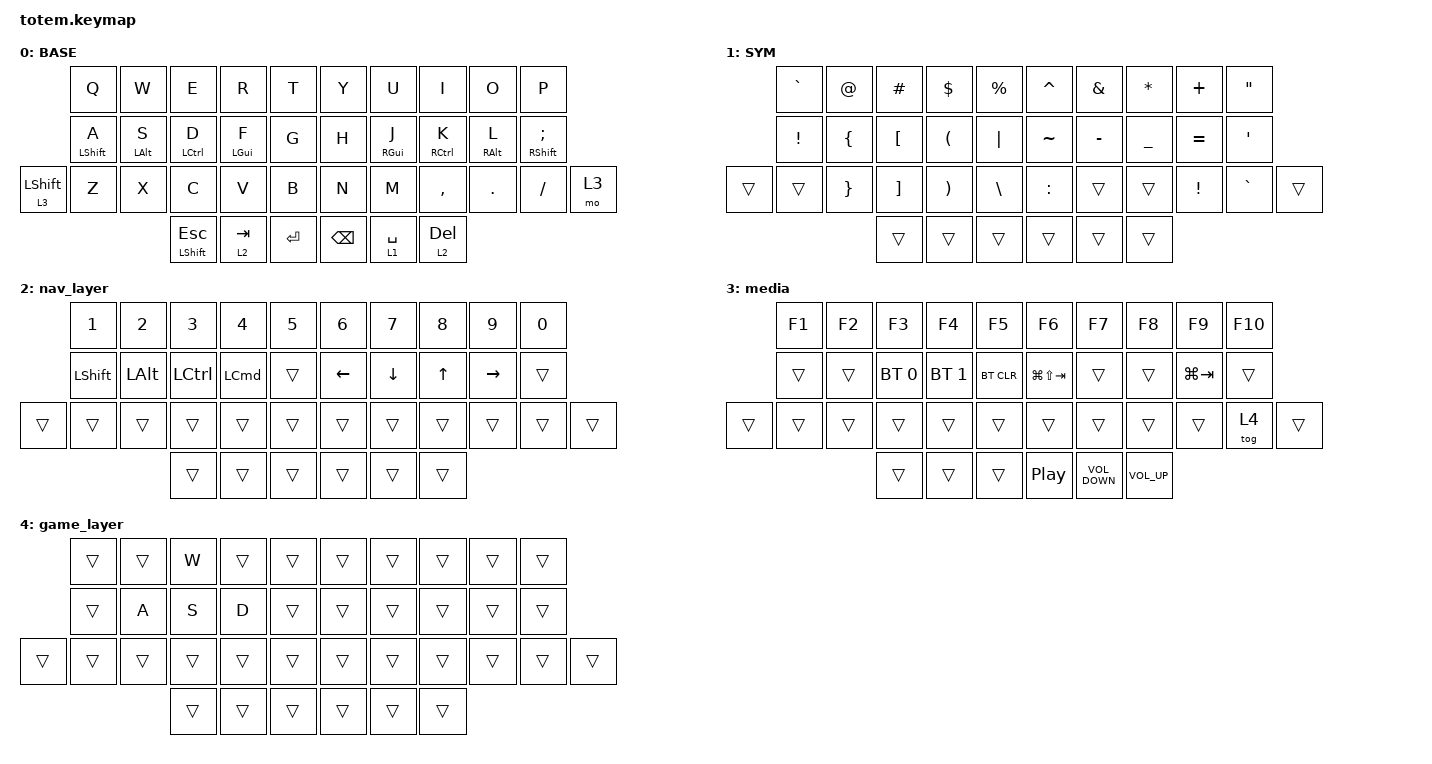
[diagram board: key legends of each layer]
//
//                                                        ▀▀▀▀▀     ▀▀▀▀▀          ▀▀█▀▀
//                                                        ▄▀▀▀▄  ▄  ▄▀▀▀▄  ▄  ▄▀▀▀▄  █  ▄▀▀▀▄
//                                                        █   █  █  █   █  █  █   █  █  █   █
//                                                         ▀▀▀   █   ▀▀▀   █   ▀▀▀   ▀   ▀▀▀
//                                                               █      ▄▄▄█▄▄▄    █   █  
//                                                               ▀      █  █  █     █▄█
//                                                             ▀▀▀▀▀    █  █  █      ▀
//                                                                      ▀  ▀  ▀
//
// ▄▄▄▄▄▄▄▄▄▄▄▄▄▄▄▄▄▄▄▄▄▄▄▄▄▄▄▄▄▄▄▄▄▄▄▄▄▄▄▄▄▄▄▄▄▄▄▄▄▄▄▄▄▄▄▄▄▄▄▄▄▄▄▄▄▄▄▄▄▄▄▄▄▄▄▄▄▄▄▄▄▄▄▄▄▄▄▄▄▄▄▄▄▄▄▄▄▄▄▄▄▄▄▄▄▄▄▄▄▄▄▄▄▄▄▄▄▄▄▄▄▄▄▄▄▄▄▄▄▄▄▄▄▄▄▄▄▄▄▄▄▄▄▄▄▄▄▄▄

#include <behaviors.dtsi>
#include <dt-bindings/zmk/bt.h>
#include <dt-bindings/zmk/keys.h>

&mt {
    quick-tap-ms = <200>;
    flavor = "tap-preferred";
    require-prior-idle-ms = <125>;
};

&lt {
    quick-tap-ms = <150>;
    require-prior-idle-ms = <150>;
    tapping-term-ms = <200>;
    flavor = "tap-preferred";
};

/ {
    combos {
        compatible = "zmk,combos";

        cmd_a {
            bindings = <&kp LG(A)>;
            key-positions = <10 21>;
        };

        cmd_x {
            bindings = <&kp LG(X)>;
            key-positions = <11 22>;
        };

        cmd_c {
            bindings = <&kp LG(C)>;
            key-positions = <12 23>;
        };

        cmd_v {
            bindings = <&kp LG(V)>;
            key-positions = <13 24>;
        };
    };

    behaviors {
        mt_hp: mt_hp {
            compatible = "zmk,behavior-hold-tap";
            label = "MT_HP";
            bindings = <&kp>, <&kp>;

            #binding-cells = <2>;
            tapping-term-ms = <200>;
            retro-tap;
            quick-tap-ms = <150>;
            require-prior-idle-ms = <100>;
        };
    };

    keymap {
        compatible = "zmk,keymap";

        base_layer {
            label = "BASE";
            bindings = <
                  &kp Q         &kp W       &kp E                     &kp R       &kp T        &kp Y          &kp U        &kp I        &kp O       &kp P
                  &mt LSHIFT A  &mt LALT S  &mt LCTRL D               &mt LGUI F  &kp G        &kp H          &mt RGUI J   &mt RCTRL K  &mt RALT L  &mt RSHIFT SEMI
&lt 3 LEFT_SHIFT  &kp Z         &kp X       &kp C                     &kp V       &kp B        &kp N          &kp M        &kp COMMA    &kp DOT     &kp FSLH         &mo 3
                                            &mt_hp LEFT_SHIFT ESCAPE  &lt 2 TAB   &kp ENTER    &kp BACKSPACE  &lt 1 SPACE  &lt 2 DEL
            >;
        };

        sym_layer {
            label = "SYM";
            bindings = <
        &kp GRAVE  &kp AT    &kp HASH  &kp DLLR  &kp PRCNT        &kp CARET  &kp AMPS   &kp STAR   &kp PLUS   &kp DOUBLE_QUOTES
        &kp EXCL   &kp LBRC  &kp LBKT  &kp LPAR  &kp PIPE         &kp TILDE  &kp MINUS  &kp UNDER  &kp EQUAL  &kp SINGLE_QUOTE
&trans  &trans     &kp RBRC  &kp RBKT  &kp RPAR  &kp BACKSLASH    &kp COLON  &trans     &trans     &kp EXCL   &kp GRAVE          &trans
                             &trans    &trans    &trans           &trans     &trans     &trans
            >;
        };

        nav_layer {
            bindings = <
        &kp NUMBER_1    &kp NUMBER_2  &kp NUMBER_3      &kp NUMBER_4      &kp N5    &kp NUMBER_6  &kp N7    &kp N8        &kp N9     &kp N0
        &kp LEFT_SHIFT  &kp LEFT_ALT  &kp LEFT_CONTROL  &kp LEFT_COMMAND  &trans    &kp LEFT      &kp DOWN  &kp UP_ARROW  &kp RIGHT  &trans
&trans  &trans          &trans        &trans            &trans            &trans    &trans        &trans    &trans        &trans     &trans  &trans
                                      &trans            &trans            &trans    &trans        &trans    &trans
            >;
        };

        media_layer {
            bindings = <
        &kp F1  &kp F2  &kp F3        &kp F4        &kp F5        &kp F6            &kp F7             &kp F8           &kp F9       &kp F10
        &trans  &trans  &bt BT_SEL 0  &bt BT_SEL 1  &bt BT_CLR    &kp LG(LS(TAB))   &trans             &trans           &kp LG(TAB)  &trans
&trans  &trans  &trans  &trans        &trans        &trans        &trans            &trans             &trans           &trans       &tog 4   &trans
                        &trans        &trans        &trans        &kp C_PLAY_PAUSE  &kp C_VOLUME_DOWN  &kp C_VOLUME_UP
            >;

            label = "media";
        };

        game_layer {
            bindings = <
        &trans  &trans  &kp W   &trans  &trans    &trans  &trans  &trans  &trans  &trans
        &trans  &kp A   &kp S   &kp D   &trans    &trans  &trans  &trans  &trans  &trans
&trans  &trans  &trans  &trans  &trans  &trans    &trans  &trans  &trans  &trans  &trans  &trans
                        &trans  &trans  &trans    &trans  &trans  &trans
            >;
        };
    };
};
